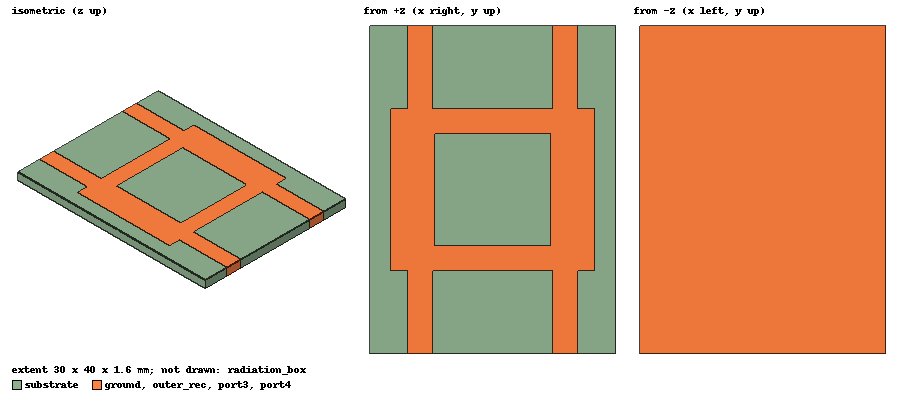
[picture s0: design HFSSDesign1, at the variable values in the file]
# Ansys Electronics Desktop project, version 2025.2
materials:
  vacuum: permittivity=1
  FR4_epoxy: permittivity=4.4 dielectric_loss_tangent=0.02
  air: permittivity=1.0006 permeability=1.0000004

design HFSSDesign1 (HFSS, HFSS Terminal Network, model units mm)
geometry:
  ground = rectangle(corner=(-15mm, -20mm, 0mm), x_size=30mm, y_size=40mm)
  substrate [FR4_epoxy] = box(corner=(-15mm, -20mm, 0mm), size=(30mm, 40mm, 1.6mm))
  outer_rec = rectangle(corner=((-24.9/2) mm, (-19.7/2) mm, 1.6mm), x_size=24.9mm, y_size=19.7mm)
  inner_rec = rectangle(corner=((-14.1/2) mm, (-13.7/2) mm, 1.6mm), x_size=14.1mm, y_size=13.7mm)
  outer_rec.subtract(inner_rec)
  right_top_rec = rectangle(corner=((-14.7/2) mm, -20mm, 1.6mm), x_size=-3mm, y_size=10.15mm)
  right_bottom_rec = rectangle(corner=((14.7/2) mm, -20mm, 1.6mm), x_size=3mm, y_size=10.15mm)
  left_top_rec = rectangle(corner=((-14.7/2) mm, 20mm, 1.6mm), x_size=-3mm, y_size=-10.15mm)
  left_bottom_rec = rectangle(corner=((14.7/2) mm, 20mm, 1.6mm), x_size=3mm, y_size=-10.15mm)
  port1 = rectangle(corner=(-10.35mm, -20mm, 1.6mm), z_size=-1.6mm, x_size=3mm)
  port2 = rectangle(corner=(10.35mm, -20mm, 1.6mm), z_size=-1.6mm, x_size=-3mm)
  port3 = rectangle(corner=(-10.35mm, 20mm, 1.6mm), z_size=-1.6mm, x_size=3mm)
  port4 = rectangle(corner=(10.35mm, 20mm, 1.6mm), z_size=-1.6mm, x_size=-3mm)
  outer_rec.unite(left_top_rec, left_bottom_rec, right_top_rec, right_bottom_rec)
  radiation_box [air] = box(corner=(-25mm, -25mm, -25mm), size=(50mm, 50mm, 50mm))
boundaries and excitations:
  PerfE1: Perfect E Objects=ground
  PerfE2: Perfect E Objects=outer_rec
  Rad1: Radiation Objects=radiation_box
  1: Lumped Port Objects=port1 LumpedPortType=Modal Modes{Mode1{IntLine{(-9, -20, 0) -> (-8.85, -20, 1.6)} CharImp=Zpi RenormImp=50ohm}} Impedance=50ohm
  2: Lumped Port Objects=port3 LumpedPortType=Modal Modes{Mode1{IntLine{(-8.8, 20, 0) -> (-8.8, 20, 1.6)} CharImp=Zpi RenormImp=50ohm}} Impedance=50ohm
  3: Lumped Port Objects=port4 LumpedPortType=Modal Modes{Mode1{IntLine{(9, 20, 0) -> (8.85, 20, 1.6)} CharImp=Zpi RenormImp=50ohm}} Impedance=50ohm
  4: Lumped Port Objects=port2 LumpedPortType=Modal Modes{Mode1{IntLine{(8.85, -20, 0) -> (8.85, -20, 1.6)} CharImp=Zpi RenormImp=50ohm}} Impedance=50ohm
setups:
  Setup1: HfssDriven Frequency=2.4GHz MaxDeltaS=0.02 MaximumPasses=6 MinimumPasses=1 MinimumConvergedPasses=1 PercentRefinement=30 BasisOrder=1 PortAccuracy=2 DrivenSolverType="Direct Solver"
    sweep Sweep: 1GHz to 5GHz, 401 points; Type=Interpolating InterpTolerance=0.5 InterpMaxSolns=250 PassivityErrorTolerance=0.0001
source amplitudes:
  1:1: 1V 0deg
  2:1, 3:1, 4:1: 0V 0deg
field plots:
  Mag_Jsurf1: Jsurf over outer_rec.face(at (0, 0, 1.6)) on Setup1 : LastAdaptive at Freq=2.4GHz Phase=0deg
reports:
  S Parameter Plot1: dB(S(1,1)), dB(S(2,1)), dB(S(3,1)), dB(S(4,1)), dB(S(1,2)), dB(S(2,2)), dB(S(3,2)), dB(S(4,2)), dB(S(1,3)), dB(S(2,3)), dB(S(3,3)), dB(S(4,3)), dB(S(1,4)), dB(S(2,4)), dB(S(3,4)), dB(S(4,4)) vs Freq on Setup1 : Sweep; markers m1 at 2.42GHz, m2 at 2.43GHz, m3 at 2.43GHz, m4 at 2.41GHz, m5 at 2.42GHz, m6 at 2.43GHz, m7 at 2.43GHz, m8 at 2.32GHz
  VSWR Plot1: VSWR(1), VSWR(2), VSWR(3), VSWR(4) vs Freq on Setup1 : Sweep
